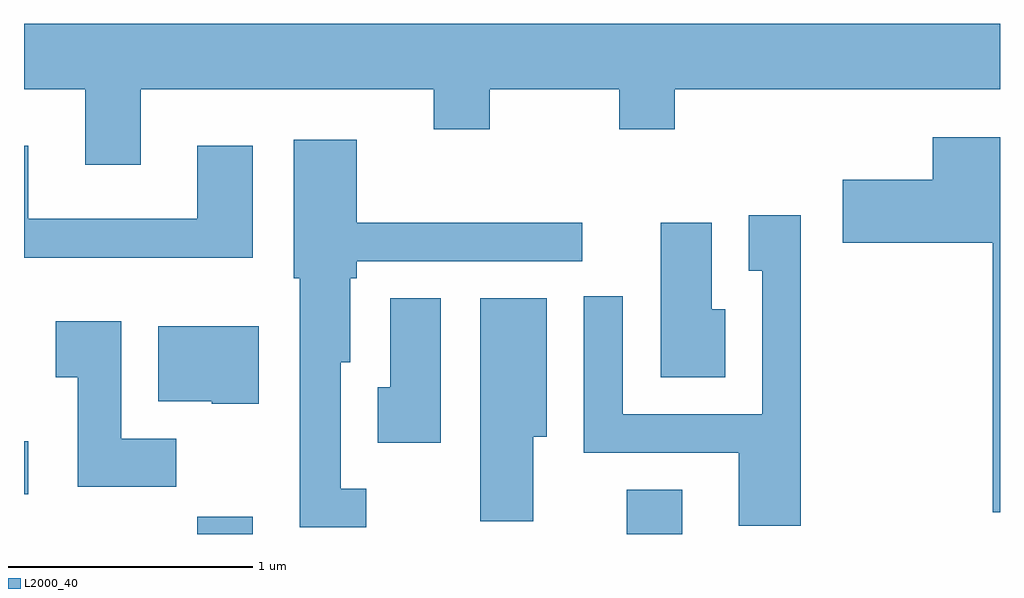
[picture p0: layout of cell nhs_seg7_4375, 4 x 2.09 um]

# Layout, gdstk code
import gdstk
lib = gdstk.Library(unit=1e-6, precision=1e-09)
def R(c, l, rs):  # rectangles x0, y0, x1, y1
    for r in rs: c.add(gdstk.rectangle(r[:2], r[2:], *l))
def P(c, l, *ps):  # polygons
    for p in ps: c.add(gdstk.Polygon(p, *l))
L2000_40 = (2000, 40)

nhs_seg7_4375 = lib.new_cell('nhs_seg7_4375')
R(nhs_seg7_4375, L2000_40, [(320.321,1730.252,320.549,1730.324), (322.081,1730.252,322.309,1730.434), (319.611,1730.416,319.629,1730.634)])
P(nhs_seg7_4375, L2000_40, [(319.611,1732.076),(319.861,1732.076),(319.861,1731.766),(320.089,1731.766),(320.089,1732.076),(321.291,1732.076),(321.291,1731.911),(321.519,1731.911),(321.519,1732.076),(322.051,1732.076),(322.051,1731.911),(322.279,1731.911),(322.279,1732.076),(323.611,1732.076),(323.611,1732.344),(319.611,1732.344)],
  [(323.611,1731.879),(323.336,1731.879),(323.336,1731.704),(322.966,1731.704),(322.966,1731.446),(323.581,1731.446),(323.581,1730.343),(323.611,1730.343)],
  [(321.013,1730.439),(320.909,1730.439),(320.909,1730.956),(320.949,1730.956),(320.949,1731.301),(320.974,1731.301),(320.974,1731.371),(321.898,1731.371),(321.898,1731.529),(320.974,1731.529),(320.974,1731.869),(320.716,1731.869),(320.716,1731.301),(320.741,1731.301),(320.741,1730.281),(321.013,1730.281)],
  [(320.549,1731.844),(320.321,1731.844),(320.321,1731.544),(319.629,1731.544),(319.629,1731.844),(319.611,1731.844),(319.611,1731.386),(320.549,1731.386)],
  [(322.794,1731.559),(322.581,1731.559),(322.581,1731.331),(322.636,1731.331),(322.636,1730.744),(322.064,1730.744),(322.064,1731.228),(321.906,1731.228),(321.906,1730.586),(322.541,1730.586),(322.541,1730.286),(322.794,1730.286)],
  [(322.484,1731.174),(322.429,1731.174),(322.429,1731.529),(322.221,1731.529),(322.221,1730.896),(322.484,1730.896)],
  [(321.699,1730.651),(321.754,1730.651),(321.754,1731.219),(321.481,1731.219),(321.481,1730.306),(321.699,1730.306)],
  [(321.319,1731.219),(321.111,1731.219),(321.111,1730.854),(321.061,1730.854),(321.061,1730.626),(321.319,1730.626)],
  [(320.234,1730.644),(320.009,1730.644),(320.009,1731.124),(319.741,1731.124),(319.741,1730.896),(319.831,1730.896),(319.831,1730.446),(320.234,1730.446)],
  [(320.574,1731.104),(320.161,1731.104),(320.161,1730.796),(320.38,1730.796),(320.38,1730.786),(320.574,1730.786)])

lib.write_gds('nhs_seg7_4375.gds')
